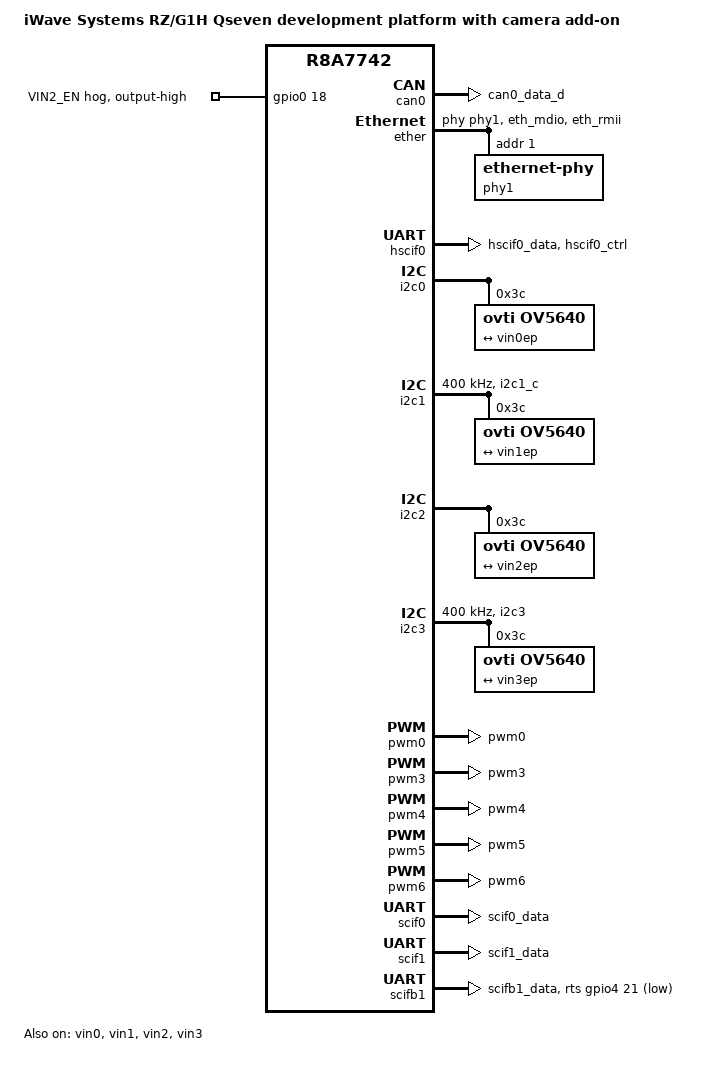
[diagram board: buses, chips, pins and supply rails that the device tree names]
// SPDX-License-Identifier: GPL-2.0
/*
 * Device Tree Source for the iWave-RZ/G1H Qseven board development
 * platform with camera daughter board
 *
 * Copyright (C) 2020 Renesas Electronics Corp.
 */

#include "r8a7742-iwg21d-q7.dts"

/ {
	model = "iWave Systems RZ/G1H Qseven development platform with camera add-on";
	compatible = "iwave,g21d", "iwave,g21m", "renesas,r8a7742";

	aliases {
		serial0 = &scif0;
		serial1 = &scif1;
		serial3 = &scifb1;
		serial5 = &hscif0;
		ethernet1 = &ether;
	};
};

&avb {
	/* Pins shared with VIN0, keep status disabled */
	status = "disabled";
};

&can0 {
	pinctrl-0 = <&can0_pins>;
	pinctrl-names = "default";
	status = "okay";
};

&ether {
	pinctrl-0 = <&ether_pins>;
	pinctrl-names = "default";

	phy-handle = <&phy1>;
	renesas,ether-link-active-low;
	status = "okay";

	phy1: ethernet-phy@1 {
		reg = <1>;
		micrel,led-mode = <1>;
	};
};

&gpio0 {
	/* disable hogging GP0_18 to output LOW */
	/delete-node/ qspi_en;

	/* hog GP0_18 to output HIGH  to enable VIN2 */
	qspi_en {
		gpio-hog;
		gpios = <18 GPIO_ACTIVE_HIGH>;
		output-high;
		line-name = "VIN2_EN";
	};
};

&hscif0 {
	pinctrl-0 = <&hscif0_pins>;
	pinctrl-names = "default";
	uart-has-rtscts;
	status = "okay";
};

&i2c0 {
	ov5640@0 {
		compatible = "ovti,ov5640";
		reg = <0x3c>;
		remote = <&vin0>;

		port {
			ov5640_0: endpoint {
				bus-width = <8>;
				remote-endpoint = <&vin0ep>;
			};
		};
	};

	ov7725@0 {
		compatible = "ov772x";
		reg = <0x21>;
		remote = <&vin0>;

		/* mark OV7725 as disabled by default
		 * to enable, run command below under U-boot command line
		 * 	setenv vin0_camera 'ov7725'
		 * Note: no need to update status here
		 */
		status = "disabled";

		port {
			ov7725_0: endpoint {
				bus-width = <8>;
				remote-endpoint = <&vin0ep>;
			};
		};
	};
};

&i2c1 {
	pinctrl-0 = <&i2c1_pins>;
	pinctrl-names = "default";

	clock-frequency = <400000>;
	status = "okay";

	ov5640@1 {
		compatible = "ovti,ov5640";
		reg = <0x3c>;
		remote = <&vin1>;

		port {
			ov5640_1: endpoint {
				bus-width = <8>;
				remote-endpoint = <&vin1ep>;
			};
		};
	};

	ov7725@1 {
		compatible = "ov772x";
		reg = <0x21>;
		remote = <&vin1>;

		/* mark OV7725 as disabled by default
		 * to enable, run command below under U-boot command line
		 * 	setenv vin1_camera 'ov7725'
		 * Note: no need to update status here
		 */
		status = "disabled";

		port {
			ov7725_1: endpoint {
				bus-width = <8>;
				remote-endpoint = <&vin1ep>;
			};
		};
	};
};

&i2c2 {
	ov5640@2 {
		compatible = "ovti,ov5640";
		reg = <0x3c>;
		remote = <&vin2>;

		port {
			ov5640_2: endpoint {
				bus-width = <8>;
				remote-endpoint = <&vin2ep>;
			};
		};
	};

	ov7725@2 {
		compatible = "ov772x";
		reg = <0x21>;
		remote = <&vin2>;

		/* mark OV7725 as disabled by default
		 * to enable, run command below under U-boot command line
		 * 	setenv vin2_camera 'ov7725'
		 * Note: no need to update status here
		 */
		status = "disabled";

		port {
			ov7725_2: endpoint {
				bus-width = <8>;
				remote-endpoint = <&vin2ep>;
			};
		};
	};
};

&i2c3 {
	pinctrl-0 = <&i2c3_pins>;
	pinctrl-names = "default";

	clock-frequency = <400000>;
	status = "okay";

	ov5640@3 {
		compatible = "ovti,ov5640";
		reg = <0x3c>;
		remote = <&vin3>;

		port {
			ov5640_3: endpoint {
				bus-width = <8>;
				remote-endpoint = <&vin3ep>;
			};
		};
	};

	ov7725@3 {
		compatible = "ov772x";
		reg = <0x21>;
		remote = <&vin3>;

		/* mark OV7725 as disabled by default
		 * to enable, run command below under U-boot command line
		 * 	setenv vin3_camera 'ov7725'
		 * Note: no need to update status here
		 */
		status = "disabled";

		port {
			ov7725_3: endpoint {
				bus-width = <8>;
				remote-endpoint = <&vin3ep>;
			};
		};
	};
};


&pfc {
	can0_pins: can0 {
		groups = "can0_data_d";
		function = "can0";
	};

	ether_pins: ether {
		groups = "eth_mdio", "eth_rmii";
		function = "eth";
	};

	hscif0_pins: hscif0 {
		groups = "hscif0_data", "hscif0_ctrl";
		function = "hscif0";
	};

	i2c1_pins: i2c1 {
		groups = "i2c1_c";
		function = "i2c1";
	};

	i2c3_pins: i2c3 {
		groups = "i2c3";
		function = "i2c3";
	};

	pwm0_pins: pwm0 {
		groups = "pwm0";
		function = "pwm0";
	};

	pwm3_pins: pwm3 {
		groups = "pwm3";
		function = "pwm3";
	};

	pwm4_pins: pwm4 {
		groups = "pwm4";
		function = "pwm4";
	};

	pwm5_pins: pwm5 {
		groups = "pwm5";
		function = "pwm5";
	};

	pwm6_pins: pwm6 {
		groups = "pwm6";
		function = "pwm6";
	};

	scif0_pins: scif0 {
		groups = "scif0_data";
		function = "scif0";
	};

	scif1_pins: scif1 {
		groups = "scif1_data";
		function = "scif1";
	};

	scifb1_pins: scifb1 {
		groups = "scifb1_data";
		function = "scifb1";
	};

	vin0_pins: vin0 {
		groups = "vin0_data8", "vin0_clk";
		function = "vin0";
	};

	vin1_pins: vin1 {
		groups = "vin1_data8", "vin1_clk_b";
		function = "vin1";
	};

	vin2_pins: vin2 {
		groups = "vin2_data8", "vin2_clk";
		function = "vin2";
	};

	vin3_pins: vin3 {
		groups = "vin3_data8", "vin3_clk";
		function = "vin3";
	};
};

&pwm0 {
	pinctrl-0 = <&pwm0_pins>;
	pinctrl-names = "default";

	status = "okay";
};

&pwm3 {
	pinctrl-0 = <&pwm3_pins>;
	pinctrl-names = "default";

	status = "okay";
};

&pwm4 {
	pinctrl-0 = <&pwm4_pins>;
	pinctrl-names = "default";

	status = "okay";
};

&pwm5 {
	pinctrl-0 = <&pwm5_pins>;
	pinctrl-names = "default";

	status = "okay";
};

&pwm6 {
	pinctrl-0 = <&pwm6_pins>;
	pinctrl-names = "default";

	status = "okay";
};

&qspi {
	/* Pins shared with VIN2, keep status disabled */
	status = "disabled";
};

&scif0 {
	pinctrl-0 = <&scif0_pins>;
	pinctrl-names = "default";
	status = "okay";
};

&scif1 {
	pinctrl-0 = <&scif1_pins>;
	pinctrl-names = "default";
	status = "okay";
};

&scifb1 {
	pinctrl-0 = <&scifb1_pins>;
	pinctrl-names = "default";
	status = "okay";

	rts-gpios = <&gpio4 21 GPIO_ACTIVE_LOW>;
	cts-gpios = <&gpio4 17 GPIO_ACTIVE_LOW>;
};

&vin0 {
	status = "okay";
	pinctrl-0 = <&vin0_pins>;
	pinctrl-names = "default";

	port {
		#address-cells = <1>;
		#size-cells = <0>;

		vin0ep: endpoint {
			remote-endpoint = <&ov5640_0>;
			bus-width = <8>;
		};
	};
};

&vin1 {
	status = "okay";
	pinctrl-0 = <&vin1_pins>;
	pinctrl-names = "default";

	port {
		#address-cells = <1>;
		#size-cells = <0>;

		vin1ep: endpoint {
			remote-endpoint = <&ov5640_1>;
			bus-width = <8>;
		};
	};
};

&vin2 {
	status = "okay";
	pinctrl-0 = <&vin2_pins>;
	pinctrl-names = "default";

	port {
		#address-cells = <1>;
		#size-cells = <0>;

		vin2ep: endpoint {
			remote-endpoint = <&ov5640_2>;
			bus-width = <8>;
			ycbcr_8b_g_enable;
		};
	};
};

&vin3 {
	status = "okay";
	pinctrl-0 = <&vin3_pins>;
	pinctrl-names = "default";

	port {
		#address-cells = <1>;
		#size-cells = <0>;

		vin3ep: endpoint {
			remote-endpoint = <&ov5640_3>;
			bus-width = <8>;
		};
	};
};
